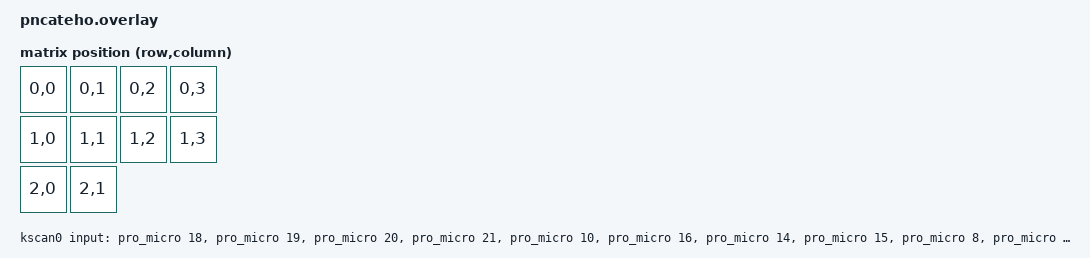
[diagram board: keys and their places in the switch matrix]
// Файл: zmk-config/config/pncateho.overlay
#include <dt-bindings/zmk/matrix-transform.h>

/ {
    chosen {
        zmk,kscan = &kscan0;
        zmk,matrix-transform = &default_transform;
    };

    kscan0: kscan {
        compatible = "zmk,kscan-gpio-direct";
        // Перечисляем все 10 пинов в порядке, указанном в info.json:
        // первые 5: F7, F6, F5, F4, B6
        // вторые 5: B2, B3, B1, E6, B4
        input-gpios
            = <&pro_micro 18 (GPIO_ACTIVE_LOW | GPIO_PULL_UP)> // 0: верх1 (F7)
            , <&pro_micro 19 (GPIO_ACTIVE_LOW | GPIO_PULL_UP)> // 1: верх2 (F6)
            , <&pro_micro 20 (GPIO_ACTIVE_LOW | GPIO_PULL_UP)> // 2: верх3 (F5)
            , <&pro_micro 21 (GPIO_ACTIVE_LOW | GPIO_PULL_UP)> // 3: верх4 (F4)
            , <&pro_micro 10 (GPIO_ACTIVE_LOW | GPIO_PULL_UP)> // 4: левый thumb (B6)
            , <&pro_micro 16 (GPIO_ACTIVE_LOW | GPIO_PULL_UP)> // 5: ниж1 (B2)
            , <&pro_micro 14 (GPIO_ACTIVE_LOW | GPIO_PULL_UP)> // 6: ниж2 (B3)
            , <&pro_micro 15 (GPIO_ACTIVE_LOW | GPIO_PULL_UP)> // 7: ниж3 (B1)
            , <&pro_micro 8  (GPIO_ACTIVE_LOW | GPIO_PULL_UP)> // 8: ниж4 (E6)
            , <&pro_micro 13 (GPIO_ACTIVE_LOW | GPIO_PULL_UP)>; // 9: правый thumb (B4)
    };

    // Определяем логическую матрицу 3x4:
    // - ряд 0: верхний (4 клавиши)
    // - ряд 1: нижний (4 клавиши)
    // - ряд 2: thumb (2 клавиши)
    default_transform: matrix_transform {
        compatible = "zmk,matrix-transform";
        columns = <4>;
        rows = <3>;
        // Сопоставляем физические индексы (0-9) с позициями (row, col)
        map = <
            // Верхний ряд (row 0, col 0..3)
            RC(0,0) RC(0,1) RC(0,2) RC(0,3)    // индексы 0,1,2,3
            // Нижний ряд (row 1, col 0..3)
            RC(1,0) RC(1,1) RC(1,2) RC(1,3)    // индексы 5,6,7,8
            // Thumb-клавиши (row 2, col 0 и col 1)
            RC(2,0) RC(2,1)                     // индексы 4 и 9
            // Остальные 4 ячейки матрицы (row 2, col 2,3 и row 0-1, col 4? у нас только 4 колонки) остаются пустыми
        >;
    };
};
